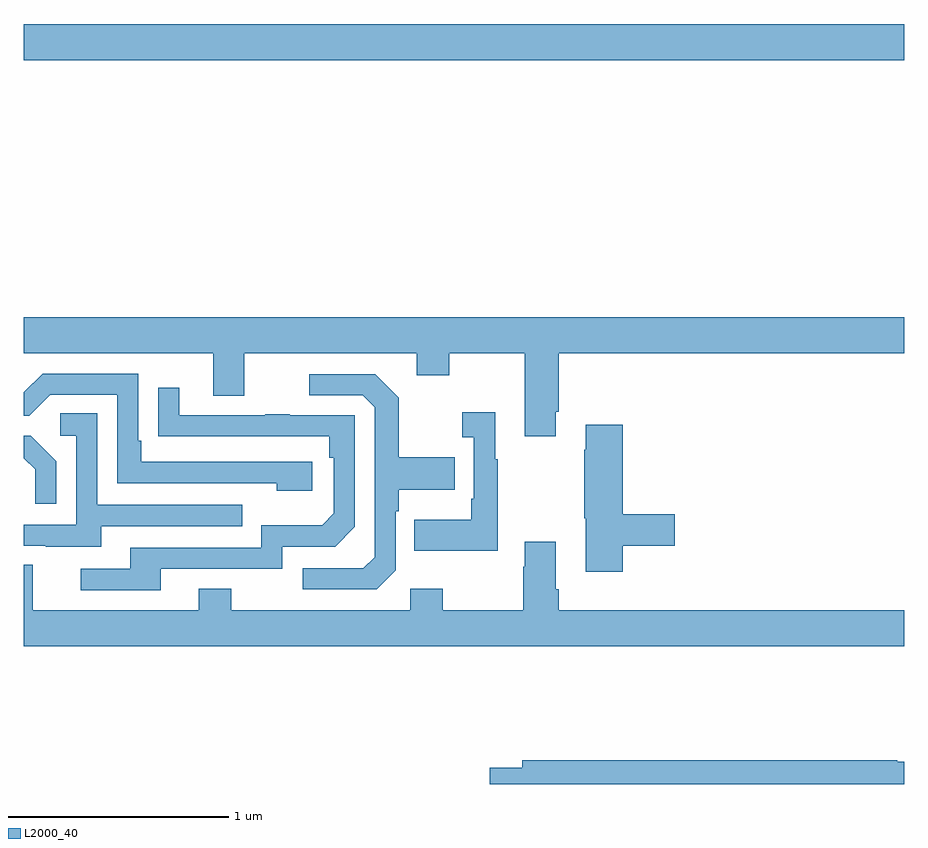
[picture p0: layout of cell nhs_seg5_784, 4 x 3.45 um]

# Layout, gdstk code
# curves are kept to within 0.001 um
import gdstk
lib = gdstk.Library(unit=1e-6, precision=1e-09)
def R(c, l, rs):  # rectangles x0, y0, x1, y1
    for r in rs: c.add(gdstk.rectangle(r[:2], r[2:], *l))
def P(c, l, *ps):  # polygons
    for p in ps: c.add(gdstk.Polygon(p, *l))
L2000_40 = (2000, 40)

nhs_seg5_784 = lib.new_cell('nhs_seg5_784')
R(nhs_seg5_784, L2000_40, [(161,862.088,165,862.252)])
P(nhs_seg5_784, L2000_40, [(163.417,860.491),(163.43,860.491),(163.43,860.756),(165,860.756),(165,860.92),(161,860.92),(161,860.756),(161.861,860.756),(161.861,860.562),(162.001,860.562),(162.001,860.756),(162.785,860.756),(162.785,860.657),(162.933,860.657),(162.933,860.756),(163.277,860.756),(163.277,860.379),(163.417,860.379)],
  [(162.31,860.262),(161.533,860.262),(161.533,860.359),(161.52,860.359),(161.52,860.664),(161.085,860.664),(161,860.579),(161,860.472),(161.025,860.472),(161.121,860.568),(161.424,860.568),(161.424,860.166),(162.149,860.166),(162.149,860.132),(162.31,860.132)],
  [(162.69,859.77),(162.69,860.039),(162.703,860.039),(162.703,860.135),(162.959,860.135),(162.959,860.283),(162.703,860.283),(162.703,860.555),(162.597,860.661),(162.297,860.661),(162.297,860.565),(162.54,860.565),(162.594,860.511),(162.594,859.83),(162.543,859.779),(162.267,859.779),(162.267,859.683),(162.603,859.683)],
  [(161.623,859.776),(162.174,859.776),(162.174,859.878),(162.414,859.878),(162.504,859.968),(162.504,860.475),(162.209,860.475),(162.209,860.48),(162.097,860.48),(162.097,860.475),(161.707,860.475),(161.707,860.599),(161.611,860.599),(161.611,860.38),(162.388,860.379),(162.388,860.282),(162.408,860.282),(162.408,860.028),(162.355,859.975),(162.078,859.975),(162.078,859.872),(161.483,859.872),(161.483,859.776),(161.259,859.776),(161.259,859.68),(161.623,859.68)],
  [(163.153,860.275),(163.141,860.275),(163.141,860.488),(162.993,860.488),(162.993,860.375),(163.044,860.375),(163.044,860.095),(163.032,860.095),(163.032,859.999),(162.775,859.999),(162.775,859.859),(163.153,859.859)],
  [(161.353,859.971),(161.993,859.971),(161.993,860.067),(161.334,860.067),(161.334,860.483),(161.166,860.483),(161.166,860.382),(161.238,860.382),(161.238,859.977),(161,859.977),(161,859.881),(161.099,859.881),(161.099,859.877),(161.353,859.877)],
  [(163.721,859.882),(163.957,859.882),(163.957,860.024),(163.721,860.024),(163.721,860.431),(163.553,860.431),(163.553,860.318),(163.546,860.318),(163.546,860.007),(163.553,860.007),(163.553,859.764),(163.721,859.764)],
  [(161.148,860.266),(161.032,860.382),(161,860.382),(161,860.28),(161.051,860.229),(161.051,860.073),(161.148,860.073)],
  [(165,859.588),(163.43,859.588),(163.43,859.684),(163.417,859.684),(163.417,859.9),(163.277,859.9),(163.277,859.787),(163.27,859.787),(163.27,859.588),(162.903,859.588),(162.903,859.687),(162.756,859.687),(162.756,859.588),(161.943,859.588),(161.943,859.687),(161.795,859.687),(161.795,859.588),(161.041,859.588),(161.041,859.796),(161,859.796),(161,859.424),(165,859.424)],
  [(165,858.901),(164.969,858.901),(164.969,858.908),(163.265,858.908),(163.265,858.872),(163.116,858.872),(163.116,858.799),(165,858.799)])

lib.write_gds('nhs_seg5_784.gds')
